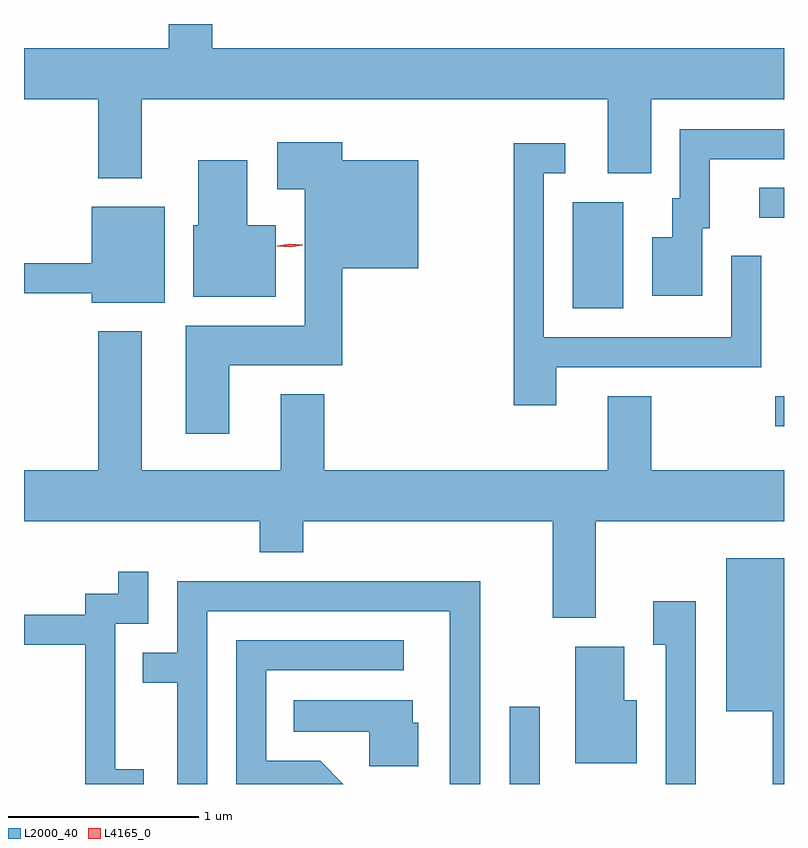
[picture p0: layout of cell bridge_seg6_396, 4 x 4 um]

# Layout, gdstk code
import gdstk
lib = gdstk.Library(unit=1e-6, precision=1e-09)
def R(c, l, rs):  # rectangles x0, y0, x1, y1
    for r in rs: c.add(gdstk.rectangle(r[:2], r[2:], *l))
def P(c, l, *ps):  # polygons
    for p in ps: c.add(gdstk.Polygon(p, *l))
L2000_40 = (2000, 40)
L4165_0 = (4165, 0)

bridge_seg6_396 = lib.new_cell('bridge_seg6_396')
R(bridge_seg6_396, L2000_40, [(920.856,1641.892,921.014,1642.298), (922.253,1643.776,922.299,1643.934), (921.186,1644.396,921.454,1644.954), (922.168,1644.871,922.299,1645.029)])
P(bridge_seg6_396, L2000_40, [(919.289,1645.892),(919.061,1645.892),(919.061,1645.764),(918.299,1645.764),(918.299,1645.496),(918.691,1645.496),(918.691,1645.081),(918.919,1645.081),(918.919,1645.496),(921.371,1645.496),(921.371,1645.106),(921.599,1645.106),(921.599,1645.496),(922.299,1645.496),(922.299,1645.764),(919.289,1645.764)],
  [(921.869,1644.816),(921.909,1644.816),(921.909,1645.181),(922.299,1645.181),(922.299,1645.339),(921.751,1645.339),(921.751,1644.974),(921.711,1644.974),(921.711,1644.769),(921.606,1644.769),(921.606,1644.461),(921.869,1644.461)],
  [(919.379,1644.096),(919.974,1644.096),(919.974,1644.606),(920.374,1644.606),(920.374,1645.174),(919.974,1645.174),(919.974,1645.269),(919.631,1645.269),(919.631,1645.021),(919.776,1645.021),(919.776,1644.304),(919.151,1644.304),(919.151,1643.736),(919.379,1643.736)],
  [(921.099,1644.086),(922.179,1644.086),(922.179,1644.673),(922.021,1644.673),(922.021,1644.244),(921.034,1644.244),(921.034,1645.106),(921.148,1645.106),(921.148,1645.264),(920.876,1645.264),(920.876,1643.886),(921.099,1643.886)],
  [(919.624,1644.834),(919.474,1644.834),(919.474,1645.174),(919.216,1645.174),(919.216,1644.834),(919.191,1644.834),(919.191,1644.456),(919.624,1644.456)],
  [(919.039,1644.929),(918.656,1644.929),(918.656,1644.634),(918.299,1644.634),(918.299,1644.476),(918.656,1644.476),(918.656,1644.426),(919.039,1644.426)],
  [(919.769,1643.276),(921.081,1643.276),(921.081,1642.766),(921.309,1642.766),(921.309,1643.276),(922.299,1643.276),(922.299,1643.544),(921.599,1643.544),(921.599,1643.934),(921.371,1643.934),(921.371,1643.544),(919.879,1643.544),(919.879,1643.944),(919.651,1643.944),(919.651,1643.544),(918.919,1643.544),(918.919,1644.274),(918.691,1644.274),(918.691,1643.544),(918.299,1643.544),(918.299,1643.276),(919.541,1643.276),(919.541,1643.111),(919.769,1643.111)],
  [(922.299,1643.079),(921.996,1643.079),(921.996,1642.276),(922.241,1642.276),(922.241,1641.892),(922.299,1641.892)],
  [(918.929,1641.969),(918.779,1641.969),(918.779,1642.736),(918.954,1642.736),(918.954,1643.008),(918.796,1643.008),(918.796,1642.894),(918.621,1642.894),(918.621,1642.784),(918.299,1642.784),(918.299,1642.626),(918.621,1642.626),(918.621,1641.892),(918.929,1641.892)],
  [(919.264,1642.801),(920.541,1642.801),(920.541,1641.892),(920.699,1641.892),(920.699,1642.959),(919.106,1642.959),(919.106,1642.584),(918.923,1642.584),(918.923,1642.426),(919.106,1642.426),(919.106,1641.892),(919.264,1641.892)],
  [(921.834,1642.854),(921.611,1642.854),(921.611,1642.626),(921.676,1642.626),(921.676,1641.892),(921.834,1641.892)],
  [(919.857,1642.014),(919.574,1642.014),(919.574,1642.491),(920.298,1642.491),(920.298,1642.649),(919.416,1642.649),(919.416,1641.892),(919.979,1641.892)],
  [(921.524,1642.334),(921.459,1642.334),(921.459,1642.614),(921.201,1642.614),(921.201,1642.001),(921.524,1642.001)],
  [(920.374,1642.214),(920.344,1642.214),(920.344,1642.334),(919.718,1642.334),(919.718,1642.166),(920.116,1642.166),(920.116,1641.986),(920.374,1641.986)])
P(bridge_seg6_396, L4165_0, [(919.7,1644.716),(919.633,1644.723),(919.633,1644.723),(919.633,1644.724),(919.699,1644.736),(919.766,1644.729),(919.766,1644.728),(919.766,1644.728)])

lib.write_gds('bridge_seg6_396.gds')
